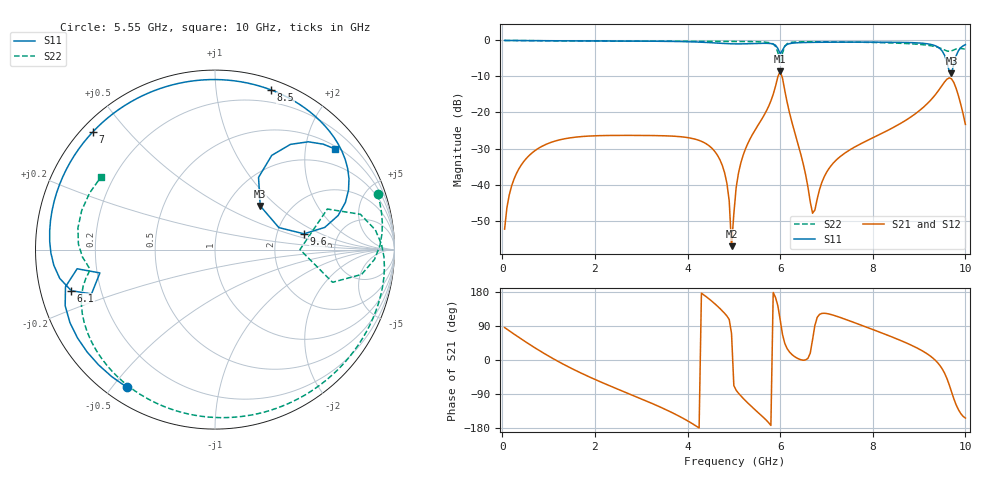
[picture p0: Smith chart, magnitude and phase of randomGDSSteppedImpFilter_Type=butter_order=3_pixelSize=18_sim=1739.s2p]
! freq	dB(S11)	phase(S11)	dB(S12)	phase(S12)
!  dB(S21)	phase(S21)	dB(S22)	phase(S22)
!S-par simulation data
#  GHz  S  DB  R 50
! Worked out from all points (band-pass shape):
!   200 points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, 50 MHz to 10 GHz, reference 50 ohm
!   highest |S21| = -8.57 dB at 6 GHz (marker M1); lowest = -57.1 dB at 4.95 GHz (marker M2)
!   |S21| within 3 dB of the highest: 5.922 GHz to 6.066 GHz (144.6 MHz wide, 2.41 % of centre); 9.548 GHz to 9.746 GHz (197.8 MHz wide, 2.05 % of centre)
!   lowest |S11| = -9.1 dB at 9.7 GHz (marker M3), VSWR 2.08, Z = 70.9 + j39.3 ohm
!   |S11| at or under -10 dB: nowhere
!   |S22| runs from -6.5 to 0.0 dB; largest |S21 - S12| = 0
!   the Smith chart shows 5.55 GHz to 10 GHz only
!   S11 on the Smith chart (normalised r, x): 5.55 GHz: 0.06, -0.54; 6.1 GHz: 0.09, -0.14; 7 GHz: 0.03, +0.40; 8.5 GHz: 0.09, +1.40; 9.6 GHz: 2.85, +0.67; 10 GHz: 0.56, +2.65
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0.05  -0.00 -4.1  -52.38 85.6  -52.38 85.6  -0.00 -4.4
0.5  -0.05 -40.4  -33.04 48.2  -33.04 48.2  -0.06 -42.9
1.1  -0.10 -83.9  -28.09 3.4  -28.09 3.4  -0.11 -90.0
1.75  -0.13 -123.5  -26.64 -37.3  -26.64 -37.3  -0.14 -133.8
2.55  -0.16 -165.4  -26.36 -79.8  -26.36 -79.8  -0.17 179.6
3.4  -0.23 149.7  -26.43 -123.6  -26.43 -123.6  -0.20 134.2
4.2  -0.43 89.4  -27.54 -175.4  -27.54 -175.4  -0.23 92.1
4.65  -0.73 31.1  -31.94 141.7  -31.94 141.7  -0.25 68.2
4.85  -0.88 -3.7  -39.65 116.1  -39.65 116.1  -0.26 57.5
4.95  -0.93 -22.4  -57.11 70.1  -57.11 70.1  -0.26 52.2
5.05  -0.96 -41.4  -40.85 -79.8  -40.85 -79.8  -0.27 46.8
5.55  -0.81 -122.7  -22.96 -141.5  -22.96 -141.5  -0.37 18.8
6  -3.69 -168.5  -8.57 106.7  -8.57 106.7  -6.49 0.0
6.1  -1.59 -164.0  -13.88 43.9  -13.88 43.9  -1.58 13.6
6.7  -0.53 151.7  -47.97 53.8  -47.97 53.8  -0.36 -28.4
7  -0.49 136.1  -36.66 122.8  -36.66 122.8  -0.38 -42.6
8.35  -0.49 77.1  -24.79 64.0  -24.79 64.0  -0.67 -101.3
8.5  -0.51 70.8  -23.76 56.7  -23.76 56.7  -0.73 -108.0
9.3  -1.25 31.4  -15.85 4.9  -15.85 4.9  -1.57 -150.9
9.6  -5.96 10.1  -10.77 -48.5  -10.77 -48.5  -2.91 -169.6
9.7  -9.11 44.0  -10.64 -83.8  -10.64 -83.8  -2.90 -173.2
10  -1.18 39.9  -23.32 -153.2  -23.32 -153.2  -2.46 147.3
